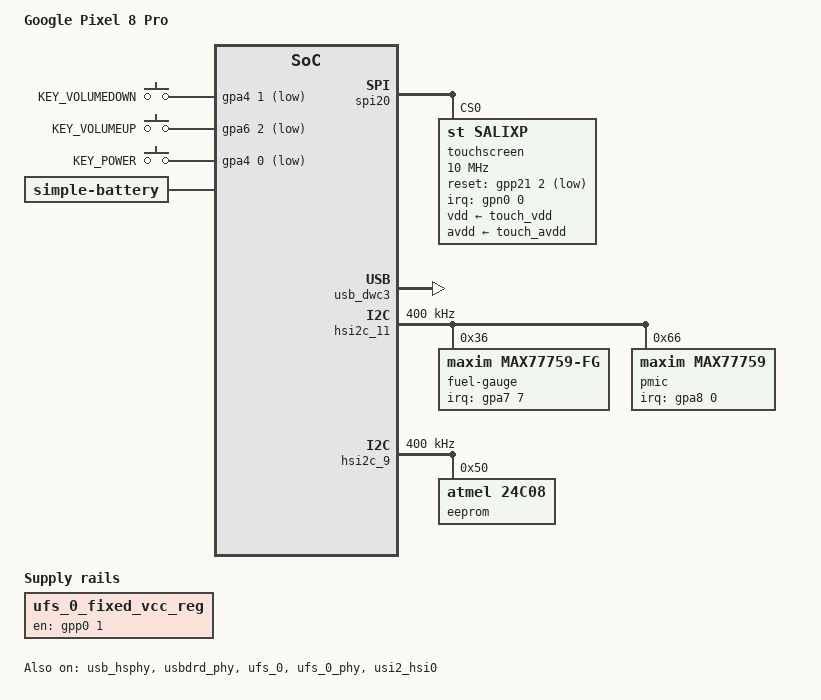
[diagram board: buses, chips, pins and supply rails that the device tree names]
// SPDX-License-Identifier: GPL-2.0-only
/*
 * Google Pixel 8 Pro (husky) - first-light board file.
 */

/dts-v1/;

#include <dt-bindings/gpio/gpio.h>
#include <dt-bindings/input/input.h>
#include <dt-bindings/interrupt-controller/irq.h>
#include <dt-bindings/usb/pd.h>
#include "zuma.dtsi"

/ {
	model = "Google Pixel 8 Pro";
	compatible = "google,zuma-husky", "google,zuma";

	/*
	 * zuma's ABL picks the base DTB by matching these children against
	 * the SoC's product id, revision and package; there is no /soc_id.
	 * A retail husky has a B0/B1 FOPLP part (stock base DTB 2, which
	 * carries exactly these two).
	 */
	soc_compatible {
		B0_FOPLP {
			product_id = <0x9865>;
			major = <1>;
			minor = <0>;
			pkg_mode = <0>;
		};

		B1_FOPLP {
			product_id = <0x9865>;
			major = <1>;
			minor = <1>;
			pkg_mode = <0>;
		};
	};

	/*
	 * UFS VCC, switched by gpp0-1 as on stock. ABL hands over with it
	 * off, so the UFS driver must turn it on.
	 */
	ufs_0_fixed_vcc_reg: regulator-ufs-vcc {
		compatible = "regulator-fixed";
		regulator-name = "ufs-vcc";
		gpio = <&gpp0 1 GPIO_ACTIVE_HIGH>;
		enable-active-high;
	};

	/*
	 * Without a panel node simpledrm estimates the display's physical
	 * size from its pixels at 96 dpi: 355x791 mm instead of 70x155 mm,
	 * which sizes everything that works in millimetres (the on-screen
	 * keyboard is half as tall as it should be) wrongly. simpledrm only
	 * reads width-mm and height-mm from this node. It stays disabled so
	 * that fw_devlink does not make the framebuffer wait for a driver
	 * this node will never have. 70x155 mm is HK3_WIDTH_MM and
	 * HK3_HEIGHT_MM in Google's panel-gs-hk3.c for the Pixel 8 Pro.
	 */
	panel0: panel {
		status = "disabled";
		width-mm = <70>;
		height-mm = <155>;
	};

	chosen {
		/*
		 * ABL requires bootargs to exist; it appends its own after these.
		 * reboot=warm: a cold PSCI reset clears the reboot reason in
		 * SYSIP_DAT0 before ABL reads it, so "reboot bootloader" would
		 * only boot the slot again.
		 * The watchdog driver stops the bootloader's watchdogs, so a
		 * hang that never panics lasts until someone holds Power and
		 * Volume Up: panic on soft and hard lockups and on RCU stalls,
		 * so that panic=10 resets the phone by itself.
		 */
		bootargs = "console=tty0 fbcon=font:TER16x32 reboot=warm panic=10 softlockup_panic=1 nmi_watchdog=panic sysctl.kernel.panic_on_rcu_stall=1 clk_ignore_unused pd_ignore_unused rdinit=/init";
		#address-cells = <2>;
		#size-cells = <1>;
		ranges;

		/*
		 * ABL's splash, still scanned out at handover: DPP0's
		 * RDMA_BASEADDR_P0 (0x19900040) reads 0xfac00000 on a booted
		 * phone, as on the Pixel 7 Pro. The panel is DSI command mode,
		 * so new frames reach it only once DECON0's trigger is unmasked.
		 */
		framebuffer0: framebuffer {
			compatible = "simple-framebuffer";
			panel = <&panel0>;
			memory-region = <&cont_splash_mem>;
			width = <1344>;
			height = <2992>;
			stride = <(1344 * 4)>;
			format = "a8r8g8b8";
		};
	};

	gpio-keys {
		compatible = "gpio-keys";
		pinctrl-0 = <&key_voldown>, <&key_volup>, <&key_power>;
		pinctrl-names = "default";

		button-vol-down {
			label = "KEY_VOLUMEDOWN";
			linux,code = <KEY_VOLUMEDOWN>;
			gpios = <&gpa4 1 GPIO_ACTIVE_LOW>;
			wakeup-source;
		};

		button-vol-up {
			label = "KEY_VOLUMEUP";
			linux,code = <KEY_VOLUMEUP>;
			gpios = <&gpa6 2 GPIO_ACTIVE_LOW>;
			wakeup-source;
		};

		button-power {
			label = "KEY_POWER";
			linux,code = <KEY_POWER>;
			gpios = <&gpa4 0 GPIO_ACTIVE_LOW>;
			wakeup-source;
		};
	};

	/*
	 * The 4950 mAh pack (Google's husky battery data). The charger and
	 * gauge limits are deliberately conservative: stock charges to 4.48 V
	 * in steps (4.20/4.30/4.35/4.48 V by temperature), which is not
	 * described here yet. 0.3 C is 1485 mA.
	 */
	battery: battery {
		compatible = "simple-battery";
		charge-full-design-microamp-hours = <4950000>;
		voltage-max-design-microvolt = <4480000>;
		voltage-min-design-microvolt = <3300000>;
		constant-charge-voltage-max-microvolt = <4200000>;
		constant-charge-current-max-microamp = <1485000>;
	};

	reserved-memory {
		#address-cells = <2>;
		#size-cells = <1>;
		ranges;

		cont_splash_mem: splash@fac00000 {
			reg = <0x0 0xfac00000 (1344 * 2992 * 4)>;
			no-map;
		};
	};
};

/*
 * The main PMIC, behind the ACPM firmware. Its regulators are described
 * with their consumers, which run them through the firmware.
 */
&acpm_ipc {
	pmic-1 {
		compatible = "samsung,s2mpg14-pmic";

		regulators {
			touch_avdd: ldo4m {
				regulator-name = "touch-avdd";
				regulator-min-microvolt = <3300000>;
				regulator-max-microvolt = <3300000>;
			};

			touch_vdd: ldo25m {
				regulator-name = "touch-vdd";
				regulator-min-microvolt = <1800000>;
				regulator-max-microvolt = <1800000>;
			};
		};
	};
};

&spi20 {
	status = "okay";

	/*
	 * ST FTM5 (SALIXP, chip id 36 40), as stock's fts node: 10 MHz,
	 * manual chip select. Not stock's axis inversion: salixp already
	 * reports in the panel's orientation.
	 */
	touchscreen@0 {
		compatible = "st,salixp";
		reg = <0>;
		spi-max-frequency = <10000000>;
		interrupt-parent = <&gpn0>;
		interrupts = <0 IRQ_TYPE_LEVEL_LOW>;
		vdd-supply = <&touch_vdd>;
		avdd-supply = <&touch_avdd>;
		reset-gpios = <&gpp21 2 GPIO_ACTIVE_LOW>;
		touchscreen-size-x = <1344>;
		touchscreen-size-y = <2992>;
		pinctrl-names = "default";
		pinctrl-0 = <&ts_irq &ts_reset>;
	};
};

&usb_dwc3 {
	status = "okay";
};

&usb_hsphy {
	status = "okay";
};

&usbdrd_phy {
	status = "okay";
};

/*
 * Behind the init's storage guard (only slot B's boot images and userdata
 * writable), which runs before the disks appear.
 */
&ufs_0 {
	vcc-supply = <&ufs_0_fixed_vcc_reg>;
	status = "okay";
};

&ufs_0_phy {
	status = "okay";
};

&usi2_hsi0 {
	status = "okay";
};

/*
 * MAX77759 (charger, Type-C port controller, fuel gauge, PMIC) on USI11 /
 * hsi2c_11. Like the Pixel 7 Pro's, but the interrupt lines are on gpa7 and
 * gpa8. The bus and CMU_PERIC1 stay disabled here, and a bring-up overlay
 * enables them. Binding the PMIC at 0x66 also creates its charger cell,
 * and the charger driver then programs charge limits from the battery
 * node, so max77759_charger, gpio_max77759, nvmem_max77759 and tcpci_maxim
 * have to be kept from loading until each step is tested. The husky device
 * package does not block them yet (cheetah's omamobile-max77759.conf
 * does), and has to before an overlay that enables this bus ships.
 *
 * The fuel gauge has no battery model yet: the pack (ATL or COS, stock
 * reads its ID resistor) is not known, and a wrong model would be written
 * if the gauge reports power-on reset. The Type-C controller stays disabled,
 * as on the Pixel 7 Pro: USB is the only way into the phone.
 */
&hsi2c_11 {
	clock-frequency = <400000>;

	usb-typec@25 {
		compatible = "maxim,max77759-tcpci", "maxim,max33359";
		reg = <0x25>;
		interrupts-extended = <&gpa8 3 IRQ_TYPE_LEVEL_LOW>;
		pinctrl-0 = <&typec_int>;
		pinctrl-names = "default";
		status = "disabled";

		/*
		 * Sink only: VBUS for host mode comes from an external boost
		 * (stock: max77759,ext-otg-only, MAX77759 GPIO5 "bst-on" and
		 * the TCPC's EXTBST_CTRL), which has no driver yet. MAX77759
		 * GPIO6 is the VBUS input switch (stock in-switch-gpio): leave
		 * it alone.
		 */
		connector {
			compatible = "usb-c-connector";
			label = "USB-C";
			data-role = "dual";
			power-role = "sink";
			self-powered;
			op-sink-microwatt = <2600000>;
			sink-pdos = <PDO_FIXED(5000, 3000,
					       (PDO_FIXED_DATA_SWAP
						| PDO_FIXED_USB_COMM
						| PDO_FIXED_HIGHER_CAP
						| PDO_FIXED_DUAL_ROLE))
				     PDO_FIXED(9000, 2200, 0)
				     PDO_PPS_APDO(5000, 11000, 3000)>;
			pd-disable;
			typec-power-opmode = "default";
		};
	};

	fuel-gauge@36 {
		compatible = "maxim,max77759-fg";
		reg = <0x36>;
		interrupts-extended = <&gpa7 7 IRQ_TYPE_LEVEL_LOW>;
		pinctrl-0 = <&if_pmic_fg_int>;
		pinctrl-names = "default";
		shunt-resistor-micro-ohms = <5000>;
		monitored-battery = <&battery>;
	};

	pmic@66 {
		compatible = "maxim,max77759";
		reg = <0x66>;
		interrupts-extended = <&gpa8 0 IRQ_TYPE_LEVEL_LOW>;
		pinctrl-0 = <&if_pmic_int>;
		pinctrl-names = "default";
		interrupt-controller;
		#interrupt-cells = <2>;
		/* for the charger cell */
		monitored-battery = <&battery>;

		gpio {
			compatible = "maxim,max77759-gpio";
			gpio-controller;
			#gpio-cells = <2>;
			interrupt-controller;
			#interrupt-cells = <2>;
		};
	};
};

/*
 * The battery pack's EEPROM on USI9 / hsi2c_9 (stock: "at,24c08" at 0x50 on
 * a 400 kHz bus, in the pack and powered by it). Byte 0x17 is the battery ID
 * that Google's driver matches against the gauge models; the rest is the
 * pack's part number, dates and history, so it is read-only here. The bus
 * and USI9 stay disabled; a bring-up overlay enables them. Nothing reads the
 * ID into the gauge yet.
 */
&hsi2c_9 {
	clock-frequency = <400000>;

	eeprom@50 {
		compatible = "atmel,24c08";
		reg = <0x50>;
		pagesize = <16>;
		read-only;
	};
};
